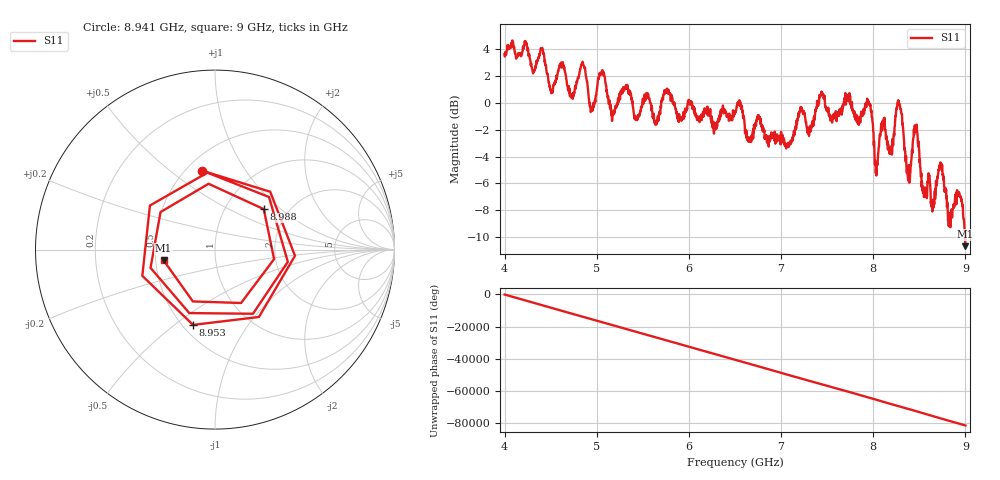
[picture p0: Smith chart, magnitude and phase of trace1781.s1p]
! Created with skrf 1.8.0 (http://scikit-rf.org).
# Hz S RI R 50.0
!freq ReS11 ImS11
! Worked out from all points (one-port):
!   1601 points, 4 GHz to 9 GHz, reference 50 ohm
!   lowest |S11| = -10.7 dB at 9 GHz (marker M1), VSWR 1.83, Z = 27.6 - j3.63 ohm
!   |S11| at or under -10 dB: 8.996598 GHz to end of sweep
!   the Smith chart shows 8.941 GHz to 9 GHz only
!   S11 on the Smith chart (normalised r, x): 8.941 GHz: 0.60, +0.66; 8.953 GHz: 0.56, -0.58; 8.988 GHz: 1.51, +0.78; 9 GHz: 0.55, -0.07
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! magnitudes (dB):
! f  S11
! 4 GHz  3.6
! 4.403 GHz  4.0
! 4.509 GHz  0.9
! 4.625 GHz  2.8
! 4.731 GHz  0.4
! 4.853 GHz  2.9
! 4.944 GHz  -0.6
! 5.053 GHz  2.3
! 5.166 GHz  -1.3
! 5.25 GHz  0.4
! 5.875 GHz  -1.0
! 6.5 GHz  -0.8
! 7.125 GHz  -2.6
! 7.441 GHz  0.8
! 7.75 GHz  0.5
! 7.956 GHz  -0.1
! 8.038 GHz  -4.6
! 8.288 GHz  -0.1
! 8.375 GHz  -5.5
! 8.459 GHz  -1.8
! 8.556 GHz  -6.4
! 8.65 GHz  -7.2
! 8.731 GHz  -4.8
! 8.831 GHz  -9.2
! 8.941 GHz  -7.0
! 8.953 GHz  -7.2
! 8.988 GHz  -9.0
! 9 GHz  -10.7
